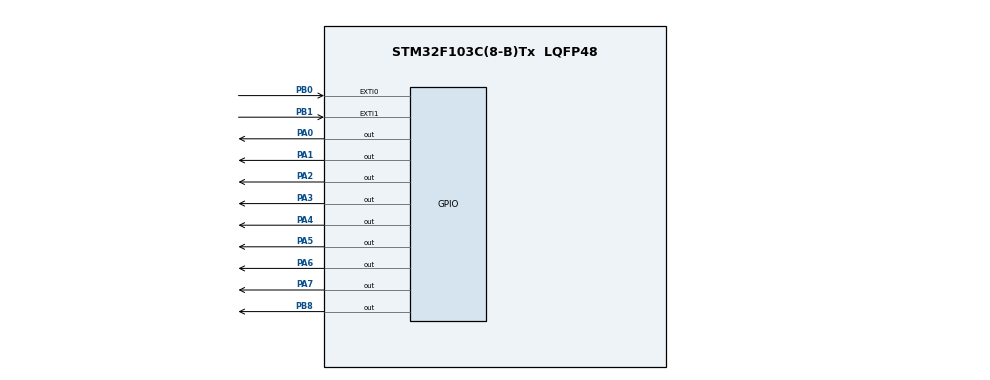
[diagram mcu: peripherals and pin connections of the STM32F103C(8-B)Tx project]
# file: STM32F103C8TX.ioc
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Mcu.Family=STM32F1
Mcu.Name=STM32F103C(8-B)Tx
Mcu.Package=LQFP48
NVIC.EXTI0_IRQn=true\:2\:0\:false\:false\:true\:true\:true\:true
NVIC.EXTI1_IRQn=true\:2\:0\:false\:false\:true\:true\:true\:true
NVIC.PriorityGroup=NVIC_PRIORITYGROUP_4
PA0-WKUP.Signal=GPIO_Output
PA1.Signal=GPIO_Output
PA2.Signal=GPIO_Output
PA3.Signal=GPIO_Output
PA4.Signal=GPIO_Output
PA5.Signal=GPIO_Output
PA6.Signal=GPIO_Output
PA7.Signal=GPIO_Output
PB0.GPIO_PuPd=GPIO_PULLDOWN
PB0.Signal=GPXTI0
PB1.GPIO_PuPd=GPIO_PULLDOWN
PB1.Signal=GPXTI1
PB8.Signal=GPIO_Output
ProjectManager.HeapSize=0x200
ProjectManager.StackSize=0x400
ProjectManager.TargetToolchain=STM32CubeIDE
RCC.APB1Freq_Value=8000000
RCC.APB2Freq_Value=8000000
VP_SYS_VS_ND.Mode=No_Debug
board=custom

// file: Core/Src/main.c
/* USER CODE BEGIN Header */
/**
 ******************************************************************************
 * @file           : main.c
 * @brief          : Comprehensive Solution for Task 1 (Assiut Robotics Team)
 *                   All deliverables fully implemented in one STM32 project:
 *                     1. Snake Effect (HAL & Register Level)
 *                     2. PWM Signal at f = 50Hz (Hardware Timer & Software
 * Delay)
 *                     3. Controlled Counter with Switch on 8 LEDs (0 to 8)
 *                     Notes solved: Both HAL and Register-Level
 * implementations, plus interactive mode switching via button PB1 / long-press.
 ******************************************************************************
 * @attention
 *
 * Copyright (c) 2026 STMicroelectronics.
 * All rights reserved.
 *
 ******************************************************************************
 */
/* USER CODE END Header */
#include "main.h"
#include "gpio.h"

/* USER CODE BEGIN Includes */
#include "task1.h"
/* USER CODE END Includes */

/* USER CODE BEGIN PD */
/* Default Startup Mode:
 *   MODE_ALL_IN_ONE    : Interactive Master Mode (cycles/demonstrates all
 * tasks) MODE_SNAKE_HAL     : Snake Effect using STM32 HAL API MODE_SNAKE_REG
 * : Snake Effect using direct Register-Level GPIO MODE_COUNTER_HAL   :
 * Controlled Counter (0..8) using HAL MODE_COUNTER_REG   : Controlled Counter
 * (0..8) using Register-Level GPIO MODE_PWM_50HZ_DEMO : 50Hz PWM Signal
 * Generator & LED Fading / Servo Sweep
 */
#define DEFAULT_STARTUP_MODE MODE_ALL_IN_ONE

/* Step delay for Snake Effect in milliseconds */
#define SNAKE_STEP_DELAY_MS 150

/* Debounce interval for push buttons in milliseconds */
#define BUTTON_DEBOUNCE_MS 50

/* Long press duration threshold in milliseconds (for single-button mode switch)
 */
#define BUTTON_LONG_PRESS_MS 1000
/* USER CODE END PD */

/* USER CODE BEGIN PV */
/* Current operating mode (0: Snake Effect, 1: Controlled Counter, 2: 50Hz PWM)
 */
volatile Task1_Mode_t currentMode = MODE_SNAKE_EFFECT;

/* Active implementation method: Register Level vs HAL */
volatile Implementation_t currentImpl = IMPL_HAL;

/* Controlled counter value: 0 to 8 */
volatile uint8_t counterValue = 0;

/* Counter display style (Bar-Graph 0..8 LEDs vs Binary 0..8) */
volatile Counter_Style_t counterStyle = COUNTER_STYLE_BARGRAPH;

/* Asynchronous button event flags (Safe for EXTI ISR) */
static volatile uint8_t g_btn0Event = 0; /* PB0: Counter button press event */
static volatile uint8_t g_btn1Event = 0; /* PB1: Mode button press event */

/* Timestamp trackers for non-blocking timing */
static uint32_t lastSnakeTick = 0;
static uint32_t lastBtn0PressTick = 0;
static uint32_t lastBtn1PressTick = 0;

/* Snake effect state machine variables */
static uint8_t snakeVal = 0;
static uint8_t snakePhase =
    0; /* 0: Turn ON one-by-one, 1: Turn OFF one-by-one */
static uint8_t snakeStep = 0;

/* PWM duty cycle variable */
static float pwmDuty = 50.0f; /* Default 50% duty cycle (10ms on, 10ms off) */
/* USER CODE END PV */

void SystemClock_Config(void);
/* USER CODE BEGIN PFP */
static void Handle_Button_Inputs(void);
/* USER CODE END PFP */

int main(void) {

  /* MCU Configuration--------------------------------------------------------*/

  /* Reset of all peripherals, Initializes the Flash interface and the Systick.
   */
  HAL_Init();

  /* Configure the system clock */
  SystemClock_Config();

  /* Initialize all configured peripherals */
  MX_GPIO_Init();
  /* USER CODE BEGIN 2 */

  /* Initialize Hardware Timer 4 Register-Level 50Hz PWM Output on PB8 */
  Task1_PWM_Timer4_RegisterInit();

  /* Settle time to avoid power-on capacitor transients on PB0/PB1 */
  HAL_Delay(100);
  __HAL_GPIO_EXTI_CLEAR_IT(GPIO_PIN_0 | GPIO_PIN_1);
  lastBtn0PressTick = HAL_GetTick();
  lastBtn1PressTick = HAL_GetTick();
  g_btn0Event = 0;
  g_btn1Event = 0;

  /* Reset all states to Deliverable 1: Snake Effect */
  currentMode = MODE_SNAKE_EFFECT;
  Task1_SnakeEffect_Reset();
  Task1_Counter_Reset();

  /* USER CODE END 2 */

  /* Infinite loop */
  /* USER CODE BEGIN WHILE */
  while (1) {
    /* Run task engine */
    Task1_Run();

    /* USER CODE END WHILE */

  }
}

void SystemClock_Config(void) {
  RCC_OscInitTypeDef RCC_OscInitStruct = {0};
  RCC_ClkInitTypeDef RCC_ClkInitStruct = {0};

  /** Initializes the RCC Oscillators according to the specified parameters
   * in the RCC_OscInitTypeDef structure.
   */
  RCC_OscInitStruct.OscillatorType = RCC_OSCILLATORTYPE_HSI;
  RCC_OscInitStruct.HSIState = RCC_HSI_ON;
  RCC_OscInitStruct.HSICalibrationValue = RCC_HSICALIBRATION_DEFAULT;
  RCC_OscInitStruct.PLL.PLLState = RCC_PLL_NONE;
  if (HAL_RCC_OscConfig(&RCC_OscInitStruct) != HAL_OK) {
    Error_Handler();
  }

  /** Initializes the CPU, AHB and APB buses clocks
   */
  RCC_ClkInitStruct.ClockType = RCC_CLOCKTYPE_HCLK | RCC_CLOCKTYPE_SYSCLK |
                                RCC_CLOCKTYPE_PCLK1 | RCC_CLOCKTYPE_PCLK2;
  RCC_ClkInitStruct.SYSCLKSource = RCC_SYSCLKSOURCE_HSI;
  RCC_ClkInitStruct.AHBCLKDivider = RCC_SYSCLK_DIV1;
  RCC_ClkInitStruct.APB1CLKDivider = RCC_HCLK_DIV1;
  RCC_ClkInitStruct.APB2CLKDivider = RCC_HCLK_DIV1;

  if (HAL_RCC_ClockConfig(&RCC_ClkInitStruct, FLASH_LATENCY_0) != HAL_OK) {
    Error_Handler();
  }
}

/* USER CODE BEGIN 4 */

/* ========================================================================== */
/* Register-Level Direct Hardware Implementation (Eng. Ahmed Eldeeb Lesson 8) */
/* ========================================================================== */

/**
 * @brief  Direct Register-Level GPIO Initialization (Alternative to HAL)
 *         Configures:
 *           - RCC APB2ENR: Clocks for Port A, Port B, AFIO
 *           - GPIOA CRL: Pins 0..7 as Output Push-Pull 2MHz (0x22222222)
 *           - GPIOB CRL: Pins 0 & 1 as Input Pull-Down (0x00000088, ODR=0)
 */
void Task1_RegisterLevel_Init(void) {
  /* 1. Enable Peripheral Clocks on APB2 Bus:
   *    Bit 2: IOPAEN (Port A clock enable)
   *    Bit 3: IOPBEN (Port B clock enable)
   *    Bit 0: AFIOEN (Alternate Function IO clock enable)
   */
  RCC->APB2ENR |=
      (RCC_APB2ENR_IOPAEN | RCC_APB2ENR_IOPBEN | RCC_APB2ENR_AFIOEN);

  /* 2. Configure GPIOA Pins 0..7 (LEDs) in CRL (Port Configuration Register
   * Low) Each pin is configured with 4 bits: CNF[1:0] : MODE[1:0] MODE = 10b
   * (Output mode, max speed 2 MHz) CNF  = 00b (General purpose output
   * push-pull) Nibble = 0010b = 0x2 For all 8 pins PA0..PA7: CRL = 0x22222222
   */
  GPIOA->CRL = 0x22222222;

  /* Reset all 8 LED pins to LOW initially via BRR (Bit Reset Register) */
  GPIOA->BRR = 0x00FF;

  /* 3. Configure GPIOB Pins 0 & 1 (Switches) in CRL
   *    MODE = 00b (Input mode)
   *    CNF  = 10b (Input with pull-up / pull-down)
   *    Nibble = 1000b = 0x8
   *    Clear lower 8 bits (PB0, PB1) then set to 0x88
   */
  GPIOB->CRL &= ~(0x000000FF);
  GPIOB->CRL |= (0x00000088);

  /* Set Pull-Down: writing 0 to ODR bits activates internal pull-down */
  GPIOB->ODR &= ~((1U << 0) | (1U << 1));
}

/**
 * @brief  Register-Level 50Hz Hardware PWM Configuration using Timer 4 Channel
 * 3 on PB8 Timer Calculation: f_clk = 8 MHz (System Clock) Prescaler (PSC) = 7
 * -> Timer Clock = 8 MHz / (7 + 1) = 1 MHz (1 tick = 1 us) Auto-Reload (ARR) =
 * 20000 - 1 = 19999 -> Period = 20000 us = 20 ms -> f = 50 Hz! Initial Duty
 * (CCR3) = 10000 us (50% duty cycle)
 */
void Task1_PWM_Timer4_RegisterInit(void) {
  /* 1. Enable GPIOB and AFIO Clocks */
  RCC->APB2ENR |= (RCC_APB2ENR_IOPBEN | RCC_APB2ENR_AFIOEN);

  /* 2. Configure PB8 as Alternate Function Output Push-Pull, 50MHz
   *    PB8 is controlled by GPIOB->CRH bits [3:0]
   *    MODE = 11b (Output 50 MHz), CNF = 10b (AF Push-Pull) -> Nibble = 1011b =
   * 0xB
   */
  GPIOB->CRH &= ~(0x0000000F);
  GPIOB->CRH |= (0x0000000B);

  /* 3. Enable Timer 4 Clock on APB1 Bus */
  RCC->APB1ENR |= RCC_APB1ENR_TIM4EN;

  /* 4. Set Prescaler and Auto-Reload values for exact 50 Hz
   *    Dynamically calculates prescaler from APB1 timer clock frequency.
   *    If APB1 prescaler != 1, timer clock = 2 * PCLK1 (STM32 architecture).
   */
  uint32_t pclk1 = HAL_RCC_GetPCLK1Freq();
  uint32_t tim4_clock = pclk1;
  if ((RCC->CFGR & RCC_CFGR_PPRE1) != RCC_CFGR_PPRE1_DIV1) {
    tim4_clock = pclk1 * 2U;
  }
  TIM4->PSC = (tim4_clock / 1000000U) - 1U; /* 1 MHz clock -> 1 us tick */
  TIM4->ARR = 19999;  /* 20000 ticks * 1 us = 20 ms (50 Hz) */
  TIM4->CCR3 = 10000; /* 10000 us pulse = 50% duty cycle */

  /* 5. Configure Channel 3 for PWM Mode 1 (OC3M = 110b) and Preload Enable
   * (OC3PE = 1) */
  TIM4->CCMR2 &= ~(TIM_CCMR2_OC3M_Msk | TIM_CCMR2_OC3PE_Msk);
  TIM4->CCMR2 |= (6U << TIM_CCMR2_OC3M_Pos) | TIM_CCMR2_OC3PE;

  /* 6. Enable Output on Channel 3 */
  TIM4->CCER |= TIM_CCER_CC3E;

  /* 7. Enable Auto-reload Preload (ARPE) and Start the Counter (CEN) */
  TIM4->CR1 |= TIM_CR1_ARPE | TIM_CR1_CEN;

  /* Trigger update event to load registers */
  TIM4->EGR |= TIM_EGR_UG;
}

/* ========================================================================== */
/* Deliverable 1: Snake Effect (HAL & Register Level)                         */
/* ========================================================================== */

/**
 * @brief  Snake Effect reset to initial state
 */
void Task1_SnakeEffect_Reset(void) {
  snakeVal = 0;
  snakePhase = 0;
  snakeStep = 0;
  HAL_GPIO_WritePin(LED_PORT, LED_ALL_PINS, GPIO_PIN_RESET);
}

/**
 * @brief  Snake Effect single step using STM32 HAL API
 *         Connect 8 LEDs and light them one by one, then switch them off one by
 * one.
 */
void Task1_SnakeEffect_HAL_Step(void) {
  if (snakePhase == 0) {
    /* Light LEDs one by one: 0x01, 0x03, 0x07, 0x0F, 0x1F, 0x3F, 0x7F, 0xFF */
    snakeVal = (uint8_t)((snakeVal << 1) | 0x01);
    snakeStep++;
    if (snakeStep >= 8) {
      snakePhase = 1;
      snakeStep = 0;
    }
  } else {
    /* Switch LEDs off one by one: 0xFE, 0xFC, 0xF8, 0xF0, 0xE0, 0xC0, 0x80,
     * 0x00 */
    snakeVal = (uint8_t)((snakeVal << 1) & 0xFF);
    snakeStep++;
    if (snakeStep >= 8) {
      snakePhase = 0;
      snakeStep = 0;
      snakeVal = 0;
    }
  }

  /* Output each bit to corresponding GPIO pin using HAL_GPIO_WritePin */
  for (uint8_t i = 0; i < 8; i++) {
    GPIO_PinState pinState =
        (snakeVal & (1U << i)) ? GPIO_PIN_SET : GPIO_PIN_RESET;
    HAL_GPIO_WritePin(LED_PORT, (uint16_t)(1U << i), pinState);
  }
}

/**
 * @brief  Snake Effect single step using Direct Register-Level Operations
 *         Directly writes to GPIOA->ODR (Output Data Register)
 */
void Task1_SnakeEffect_Register_Step(void) {
  if (snakePhase == 0) {
    /* Light LEDs one by one */
    snakeVal = (uint8_t)((snakeVal << 1) | 0x01);
    snakeStep++;
    if (snakeStep >= 8) {
      snakePhase = 1;
      snakeStep = 0;
    }
  } else {
    /* Switch LEDs off one by one */
    snakeVal = (uint8_t)((snakeVal << 1) & 0xFF);
    snakeStep++;
    if (snakeStep >= 8) {
      snakePhase = 0;
      snakeStep = 0;
      snakeVal = 0;
    }
  }

  /* Direct Register Write to Port A Output Data Register:
   * Keep upper 8 pins (PA8..PA15) unchanged, update lower 8 pins (PA0..PA7)
   */
  GPIOA->ODR = (GPIOA->ODR & 0xFF00) | (uint16_t)snakeVal;
}

/* ========================================================================== */
/* Deliverable 2: 50Hz PWM Signal Generation                                  */
/* ========================================================================== */

/**
 * @brief  Software 50Hz PWM Output toggle
 *         Period = 20ms (50Hz): high_ms HIGH, low_ms LOW.
 * @param  high_ms: On-time in milliseconds (e.g. 10ms for 50% duty)
 * @param  low_ms:  Off-time in milliseconds (e.g. 10ms for 50% duty)
 */
void Task1_PWM_50Hz_SoftwareToggle(uint32_t high_ms, uint32_t low_ms) {
  HAL_GPIO_WritePin(PWM_SW_PORT, PWM_SW_PIN, GPIO_PIN_SET);
  HAL_Delay(high_ms);
  HAL_GPIO_WritePin(PWM_SW_PORT, PWM_SW_PIN, GPIO_PIN_RESET);
  HAL_Delay(low_ms);
}

/**
 * @brief  Adjust Hardware Timer 4 PWM Duty Cycle
 * @param  duty_percent: 0.0f to 100.0f %
 */
void Task1_PWM_50Hz_SetDuty(float duty_percent) {
  if (duty_percent < 0.0f)
    duty_percent = 0.0f;
  if (duty_percent > 100.0f)
    duty_percent = 100.0f;

  /* ARR is 19999 (20000 ticks = 20ms) */
  uint32_t ccr_val = (uint32_t)((duty_percent / 100.0f) * 20000.0f);
  if (ccr_val > 19999)
    ccr_val = 19999;

  TIM4->CCR3 = ccr_val;
}

/**
 * @brief  PWM Demonstration Step
 *         Outputs exact hardware 50Hz PWM on PB8, and displays active duty
 * cycle cleanly on the 8 LEDs as a solid bar meter (e.g. 50% = 4 LEDs lit)
 */
void Task1_PWM_50Hz_Demo_Step(void) {
  /* Update hardware Timer 4 PWM (PB8) */
  Task1_PWM_50Hz_SetDuty(pwmDuty);

  /* Display duty cycle on 8 LEDs as a clean, steady meter (1 to 8 LEDs) */
  uint8_t numLeds = (uint8_t)((pwmDuty / 100.0f) * 8.0f + 0.5f);
  if (numLeds > 8)
    numLeds = 8;

  uint8_t pattern = 0;
  for (uint8_t i = 0; i < numLeds; i++) {
    pattern |= (uint8_t)(1U << i);
  }
  GPIOA->ODR = (GPIOA->ODR & 0xFF00) | (uint16_t)pattern;
}

/* ========================================================================== */
/* Deliverable 3: Controlled Counter (0 to 8) on 8 LEDs with Switch           */
/* ========================================================================== */

/**
 * @brief  Display counter value (0 to 8) on the 8 LEDs using STM32 HAL
 * @param  count: Number from 0 to 8
 * @param  style: Bar-Graph (0..8 LEDs lit) or Binary (0..8 in binary)
 */
void Task1_Counter_Display_HAL(uint8_t count, Counter_Style_t style) {
  if (count > 8)
    count = 8;
  uint8_t pattern = 0;

  if (style == COUNTER_STYLE_BARGRAPH) {
    /* Thermometer / Bar-graph: count represents number of illuminated LEDs */
    for (uint8_t i = 0; i < count; i++) {
      pattern |= (uint8_t)(1U << i);
    }
  } else {
    /* Binary: count value in binary */
    pattern = count;
  }

  for (uint8_t i = 0; i < 8; i++) {
    GPIO_PinState state = (pattern & (1U << i)) ? GPIO_PIN_SET : GPIO_PIN_RESET;
    HAL_GPIO_WritePin(LED_PORT, (uint16_t)(1U << i), state);
  }
}

/**
 * @brief  Display counter value (0 to 8) on the 8 LEDs using Register Level
 * @param  count: Number from 0 to 8
 * @param  style: Bar-Graph or Binary
 */
void Task1_Counter_Display_Register(uint8_t count, Counter_Style_t style) {
  if (count > 8)
    count = 8;
  uint8_t pattern = 0;

  if (style == COUNTER_STYLE_BARGRAPH) {
    for (uint8_t i = 0; i < count; i++) {
      pattern |= (uint8_t)(1U << i);
    }
  } else {
    pattern = count;
  }

  /* Direct register write to GPIOA->ODR (lower 8 bits) */
  GPIOA->ODR = (GPIOA->ODR & 0xFF00) | (uint16_t)pattern;
}

/**
 * @brief  Increment counter from 0 to 8, wrapping around to 0
 */
void Task1_Counter_Increment(void) {
  counterValue++;
  if (counterValue > 8) {
    counterValue = 0;
  }
}

/**
 * @brief  Reset counter to 0
 */
void Task1_Counter_Reset(void) { counterValue = 0; }

/**
 * @brief  Get current counter value
 */
uint8_t Task1_Counter_GetCount(void) { return counterValue; }

/* ========================================================================== */
/* Application Mode Control & Interactive Runner                              */
/* ========================================================================== */

void Task1_SetMode(Task1_Mode_t mode) {
  currentMode = mode;

  /* Reset mode-specific states without disruptive flashing */
  if (mode == MODE_SNAKE_EFFECT) {
    Task1_SnakeEffect_Reset();
  } else if (mode == MODE_CONTROLLED_COUNTER) {
    /* Display the current counter value immediately on the LEDs */
    if (currentImpl == IMPL_REGISTER) {
      Task1_Counter_Display_Register(counterValue, counterStyle);
    } else {
      Task1_Counter_Display_HAL(counterValue, counterStyle);
    }
  } else if (mode == MODE_PWM_50HZ) {
    Task1_PWM_50Hz_Demo_Step();
  }
}

Task1_Mode_t Task1_GetMode(void) { return currentMode; }

/**
 * @brief  EXTI Interrupt Callback (Hardware Rising-Edge Detection)
 *         Fires strictly on the low-to-high transition of PB0 and PB1.
 *         Holding the button down will NEVER trigger repeated events.
 */
void HAL_GPIO_EXTI_Callback(uint16_t GPIO_Pin) {
  uint32_t now = HAL_GetTick();
  if (now < 300)
    return; /* Ignore power-on settling */

  if (GPIO_Pin == SW_COUNTER_PIN) /* PB0: Counter Increment Button */
  {
    /* 400ms debounce lockout absorbs mouse click release transients in Proteus */
    if ((now - lastBtn0PressTick) >= 400) {
      lastBtn0PressTick = now;
      g_btn0Event = 1;
    }
  } else if (GPIO_Pin == SW_MODE_PIN) /* PB1: Mode Selector Button */
  {
    if ((now - lastBtn1PressTick) >= 250) {
      lastBtn1PressTick = now;
      g_btn1Event = 1;
    }
  }
}

/**
 * @brief  Button input handler
 *         Events are captured strictly by EXTI callback.
 */
static void Handle_Button_Inputs(void) {}

/**
 * @brief  Main Task Execution Engine
 *         Dispatches actions according to currentMode in a non-blocking
 * architecture
 */
void Task1_Run(void) {
  uint32_t now = HAL_GetTick();

  /* Check button states */
  Handle_Button_Inputs();

  /* 1. Handle Pending Mode Change Request (PB1 pressed) */
  if (g_btn1Event) {
    g_btn1Event = 0;
    Task1_Mode_t nextMode = (Task1_Mode_t)((currentMode + 1) % MODE_COUNT_MAX);
    Task1_SetMode(nextMode);
    return;
  }

  /* 2. Handle Pending Counter Button Press (PB0 pressed) */
  if (g_btn0Event) {
    g_btn0Event = 0;

    if (currentMode == MODE_CONTROLLED_COUNTER) {
      /* Deliverable 3: Increment counter by exactly 1 (0 to 8, then wraps to 0)
       */
      Task1_Counter_Increment();
      if (currentImpl == IMPL_REGISTER) {
        Task1_Counter_Display_Register(counterValue, counterStyle);
      } else {
        Task1_Counter_Display_HAL(counterValue, counterStyle);
      }
    } else if (currentMode == MODE_SNAKE_EFFECT) {
      /* Toggle between Register-Level Direct GPIO and HAL Implementation */
      currentImpl = (currentImpl == IMPL_REGISTER) ? IMPL_HAL : IMPL_REGISTER;
    } else if (currentMode == MODE_PWM_50HZ) {
      /* Step PWM duty cycle on PB0 press: 10% -> 25% -> 50% -> 75% -> 90% */
      static uint8_t step = 2;
      const float presets[5] = {10.0f, 25.0f, 50.0f, 75.0f, 90.0f};
      step = (step + 1) % 5;
      pwmDuty = presets[step];
      Task1_PWM_50Hz_Demo_Step();
    }
  }

  /* 3. Execute Mode State Machine */
  switch (currentMode) {
  /* Mode 0: Deliverable 1 - Snake Effect (light 1-by-1, turn off 1-by-1) */
  case MODE_SNAKE_EFFECT: {
    if ((now - lastSnakeTick) >= SNAKE_STEP_DELAY_MS) {
      lastSnakeTick = now;
      if (currentImpl == IMPL_REGISTER) {
        Task1_SnakeEffect_Register_Step();
      } else {
        Task1_SnakeEffect_HAL_Step();
      }
    }
    break;
  }

  /* Mode 1: Deliverable 3 - Controlled Counter (0 to 8 via PB0 Switch)
   * LEDs maintain their state steadily and update cleanly on each PB0 press!
   */
  case MODE_CONTROLLED_COUNTER: {
    /* Steady state display */
    break;
  }

  /* Mode 2: Deliverable 2 - 50Hz PWM Signal Demo & LED Duty Bar Meter */
  case MODE_PWM_50HZ: {
    /* Steady state display: PB8 outputs 50Hz PWM, LEDs show duty meter */
    break;
  }

  default:
    currentMode = MODE_SNAKE_EFFECT;
    break;
  }
}

/* USER CODE END 4 */

void Error_Handler(void) {
  __disable_irq();
  while (1) {
  }
}
#ifdef USE_FULL_ASSERT
/**
 * @brief  Reports the name of the source file and the source line number
 *         where the assert_param error has occurred.
 * @param  file: pointer to the source file name
 * @param  line: assert_param error line source number
 * @retval None
 */
void assert_failed(uint8_t *file, uint32_t line) {
  /* USER CODE BEGIN 6 */
  /* User can add his own implementation to report the file name and line
     number, ex: printf("Wrong parameters value: file %s on line %d\r\n", file,
     line) */
  /* USER CODE END 6 */
}
#endif /* USE_FULL_ASSERT */
